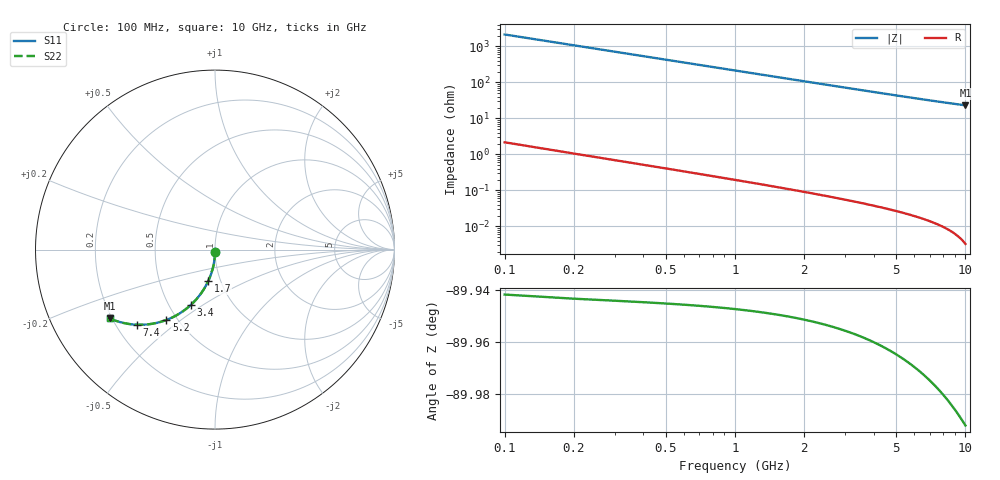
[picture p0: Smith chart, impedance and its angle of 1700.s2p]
# Hz S RI R 50.00
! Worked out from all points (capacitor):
!   100 points, 100 MHz to 10 GHz, reference 50 ohm
!   read as one part in shunt: C = 744 fF near 100 MHz
!   lowest |Z| = 23.1 ohm at 10 GHz (marker M1)
!   S11 on the Smith chart (normalised r, x): 100 MHz: 1.00, -0.02; 1.7 GHz: 0.88, -0.31; 3.4 GHz: 0.64, -0.45; 5.2 GHz: 0.44, -0.44; 7.4 GHz: 0.29, -0.38; 10 GHz: 0.19, -0.29
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1e8  0.000645 -0.0107  0.9991 -0.0127  0.9991 -0.0127  0.000645 -0.0107
2e8  0.000233 -0.0213  0.9986 -0.0254  0.9986 -0.0254  0.000233 -0.0213
3e8  -0.00045 -0.0319  0.9979 -0.0381  0.9979 -0.0381  -0.00045 -0.0319
4e8  -0.0014 -0.0425  0.997 -0.0507  0.997 -0.0507  -0.0014 -0.0425
5e8  -0.00262 -0.0531  0.9957 -0.0633  0.9957 -0.0633  -0.00262 -0.0531
6e8  -0.00411 -0.0636  0.9942 -0.0759  0.9942 -0.0759  -0.00411 -0.0636
8e8  -0.00787 -0.0845  0.9904 -0.1009  0.9904 -0.1009  -0.00787 -0.0845
1.1e9  -0.0154 -0.1152  0.9827 -0.1377  0.9827 -0.1377  -0.0154 -0.1152
1.4e9  -0.0252 -0.145  0.9727 -0.1737  0.9727 -0.1737  -0.0252 -0.145
1.7e9  -0.0371 -0.1738  0.9606 -0.2087  0.9606 -0.2087  -0.0371 -0.1738
1.8e9  -0.0415 -0.1831  0.9562 -0.2201  0.9562 -0.2201  -0.0415 -0.1831
2.1e9  -0.0559 -0.2102  0.9415 -0.2533  0.9415 -0.2533  -0.0559 -0.2102
2.5e9  -0.0778 -0.244  0.9192 -0.2953  0.9192 -0.2953  -0.0778 -0.244
2.9e9  -0.1022 -0.2749  0.8943 -0.3345  0.8943 -0.3345  -0.1022 -0.2749
3.4e9  -0.1358 -0.3092  0.86 -0.3792  0.86 -0.3792  -0.1358 -0.3092
4.2e9  -0.1942 -0.3538  0.8002 -0.4405  0.8002 -0.4405  -0.1942 -0.3538
5.1e9  -0.2634 -0.3891  0.7292 -0.4946  0.7292 -0.4946  -0.2634 -0.3891
5.2e9  -0.2711 -0.3921  0.7213 -0.4997  0.7213 -0.4997  -0.2711 -0.3921
6.7e9  -0.3843 -0.4174  0.6041 -0.5569  0.6041 -0.5569  -0.3843 -0.4174
7.4e9  -0.4335 -0.4185  0.5526 -0.5731  0.5526 -0.5731  -0.4335 -0.4185
8.4e9  -0.4983 -0.4111  0.4841 -0.5875  0.4841 -0.5875  -0.4983 -0.4111
1e10  -0.5872 -0.3832  0.388 -0.5953  0.388 -0.5953  -0.5872 -0.3832
